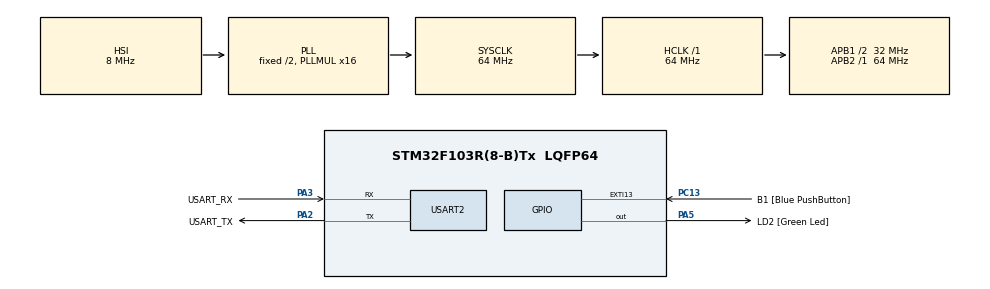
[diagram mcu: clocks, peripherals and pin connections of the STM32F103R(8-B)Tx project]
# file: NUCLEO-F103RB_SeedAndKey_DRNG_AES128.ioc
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FREERTOS.BinarySemaphores01=requestSeedBinarySem,Dynamic,NULL,Depleted;sendKeyBinarySem,Dynamic,NULL,Depleted
FREERTOS.HEAP_NUMBER=4
FREERTOS.Queues01=outputQueue,2,33,1,Dynamic,NULL,NULL
FREERTOS.Tasks01=serialTask,24,256,SerialTask,Default,NULL,Dynamic,NULL,NULL;requestSeedTask,24,256,RequestSeedTask,Default,NULL,Dynamic,NULL,NULL;compareKeyTask,24,256,CompareKeyTask,Default,NULL,Dynamic,NULL,NULL
FREERTOS.configTOTAL_HEAP_SIZE=10000
FREERTOS.configUSE_NEWLIB_REENTRANT=1
Mcu.Family=STM32F1
Mcu.Name=STM32F103R(8-B)Tx
Mcu.Package=LQFP64
NVIC.EXTI15_10_IRQn=true\:5\:0\:false\:false\:true\:true\:true\:true\:true
NVIC.PriorityGroup=NVIC_PRIORITYGROUP_4
NVIC.TIM1_UP_IRQn=true\:15\:0\:false\:false\:true\:false\:false\:true\:true
NVIC.TimeBase=TIM1_UP_IRQn
NVIC.TimeBaseIP=TIM1
NVIC.USART2_IRQn=true\:5\:0\:false\:false\:true\:true\:true\:true\:true
PA13.GPIO_Label=TMS
PA13.Mode=Trace_Asynchronous_SW
PA13.Signal=SYS_JTMS-SWDIO
PA14.GPIO_Label=TCK
PA14.Mode=Trace_Asynchronous_SW
PA14.Signal=SYS_JTCK-SWCLK
PA2.GPIO_Label=USART_TX
PA2.GPIO_Mode=GPIO_MODE_AF_PP
PA2.GPIO_PuPd=GPIO_NOPULL
PA2.GPIO_Speed=GPIO_SPEED_FREQ_LOW
PA2.Mode=Asynchronous
PA2.Signal=USART2_TX
PA3.GPIO_Label=USART_RX
PA3.GPIO_Mode=GPIO_MODE_AF_PP
PA3.GPIO_PuPd=GPIO_NOPULL
PA3.GPIO_Speed=GPIO_SPEED_FREQ_LOW
PA3.Mode=Asynchronous
PA3.Signal=USART2_RX
PA5.GPIO_Label=LD2 [Green Led]
PA5.GPIO_ModeDefaultOutputPP=GPIO_MODE_OUTPUT_PP
PA5.GPIO_PuPd=GPIO_NOPULL
PA5.GPIO_Speed=GPIO_SPEED_FREQ_LOW
PA5.Signal=GPIO_Output
PB3.GPIO_Label=SWO
PB3.Mode=Trace_Asynchronous_SW
PB3.Signal=SYS_JTDO-TRACESWO
PC13-TAMPER-RTC.GPIO_Label=B1 [Blue PushButton]
PC13-TAMPER-RTC.GPIO_PuPd=GPIO_NOPULL
PC13-TAMPER-RTC.Signal=GPXTI13
PC14-OSC32_IN.Mode=LSE-External-Oscillator
PC14-OSC32_IN.Signal=RCC_OSC32_IN
PC15-OSC32_OUT.Mode=LSE-External-Oscillator
PC15-OSC32_OUT.Signal=RCC_OSC32_OUT
PD0-OSC_IN.Mode=HSE-External-Clock-Source
PD0-OSC_IN.Signal=RCC_OSC_IN
PD1-OSC_OUT.Mode=HSE-External-Clock-Source
PD1-OSC_OUT.Signal=RCC_OSC_OUT
ProjectManager.HeapSize=0x200
ProjectManager.StackSize=0x400
ProjectManager.TargetToolchain=STM32CubeIDE
RCC.AHBFreq_Value=64000000
RCC.APB1CLKDivider=RCC_HCLK_DIV2
RCC.APB1Freq_Value=32000000
RCC.APB1TimFreq_Value=64000000
RCC.APB2Freq_Value=64000000
RCC.APB2TimFreq_Value=64000000
RCC.HCLKFreq_Value=64000000
RCC.PLLMUL=RCC_PLL_MUL16
RCC.RTCClockSelection=RCC_RTCCLKSOURCE_LSE
RCC.SYSCLKFreq_VALUE=64000000
RCC.SYSCLKSource=RCC_SYSCLKSOURCE_PLLCLK
RCC.USBFreq_Value=64000000
USART2.VirtualMode=VM_ASYNC
VP_FREERTOS_VS_CMSIS_V2.Mode=CMSIS_V2
VP_SYS_VS_tim1.Mode=TIM1
board=NUCLEO-F103RB

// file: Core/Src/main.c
/* USER CODE BEGIN Header */
/**
  ******************************************************************************
  * @file           : main.c
  * @brief          : Main program body
  ******************************************************************************
  * @attention
  *
  * Copyright (c) 2025 STMicroelectronics.
  * All rights reserved.
  *
  * This software is licensed under terms that can be found in the LICENSE file
  * in the root directory of this software component.
  * If no LICENSE file comes with this software, it is provided AS-IS.
  *
  ******************************************************************************
  */
/* USER CODE END Header */
#include "main.h"
#include "cmsis_os.h"

/* USER CODE BEGIN Includes */
#include <string.h>
#include <stdio.h>
#include "cmox_crypto.h"
/* USER CODE END Includes */

/* USER CODE BEGIN PD */
#define LENGTH_OF_SEED_KEY 16
/* USER CODE END PD */

UART_HandleTypeDef huart2;

/* Definitions for serialTask */
osThreadId_t serialTaskHandle;
const osThreadAttr_t serialTask_attributes = {
  .name = "serialTask",
  .stack_size = 256 * 4,
  .priority = (osPriority_t) osPriorityNormal,
};
/* Definitions for requestSeedTask */
osThreadId_t requestSeedTaskHandle;
const osThreadAttr_t requestSeedTask_attributes = {
  .name = "requestSeedTask",
  .stack_size = 256 * 4,
  .priority = (osPriority_t) osPriorityNormal,
};
/* Definitions for compareKeyTask */
osThreadId_t compareKeyTaskHandle;
const osThreadAttr_t compareKeyTask_attributes = {
  .name = "compareKeyTask",
  .stack_size = 256 * 4,
  .priority = (osPriority_t) osPriorityNormal,
};
/* Definitions for outputQueue */
osMessageQueueId_t outputQueueHandle;
const osMessageQueueAttr_t outputQueue_attributes = {
  .name = "outputQueue"
};
/* Definitions for requestSeedBinarySem */
osSemaphoreId_t requestSeedBinarySemHandle;
const osSemaphoreAttr_t requestSeedBinarySem_attributes = {
  .name = "requestSeedBinarySem"
};
/* Definitions for sendKeyBinarySem */
osSemaphoreId_t sendKeyBinarySemHandle;
const osSemaphoreAttr_t sendKeyBinarySem_attributes = {
  .name = "sendKeyBinarySem"
};

void SystemClock_Config(void);
static void MX_GPIO_Init(void);
static void MX_USART2_UART_Init(void);
void SerialTask(void *argument);
void RequestSeedTask(void *argument);
void CompareKeyTask(void *argument);

/* USER CODE BEGIN PFP */
void HandleInputKey(char* inputKey, uint8_t len);
/* USER CODE END PFP */

/* USER CODE BEGIN 0 */
char inputMsg[40];
char requestSeed[] = "seed";
char sendKey[] = "key";
//const char testKey[LENGTH_OF_SEED_KEY*2+3] = "key77384fd183cb1916e7ac4c0fe022efcf";
const uint8_t SecretKey[] =
{
  0x11, 0x22, 0x33, 0x44, 0x55, 0x66, 0x77, 0x88, 0x99, 0x00, 0xAA, 0xBB, 0xCC, 0xDD, 0xEE, 0xFF
};
const uint8_t IV[] =
{
  0x00, 0x01, 0x02, 0x03, 0x04, 0x05, 0x06, 0x07, 0x08, 0x09, 0x0a, 0x0b, 0x0c, 0x0d, 0x0e, 0x0f
};
uint8_t InputCiphertext[] =
{
  0x76, 0x49, 0xab, 0xac, 0x81, 0x19, 0xb2, 0x46, 0xce, 0xe9, 0x8e, 0x9b, 0x12, 0xe9, 0x19, 0x7d
};
/* Computed data buffer */
uint8_t ComputedCiphertext[LENGTH_OF_SEED_KEY];

/* DRBG context handle */
cmox_ctr_drbg_handle_t Drbg_Ctx;

uint8_t Entropy[] =
{
  0x4c, 0xfb, 0x21, 0x86, 0x73, 0x34, 0x6d, 0x9d, 0x50, 0xc9, 0x22, 0xe4, 0x9b, 0x0d, 0xfc, 0xd0,
  0x90, 0xad, 0xf0, 0x4f, 0x5c, 0x3b, 0xa4, 0x73, 0x27, 0xdf, 0xcd, 0x6f, 0xa6, 0x3a, 0x78, 0x5c
};
const uint8_t Nonce[] =
{
  0x01, 0x69, 0x62, 0xa7, 0xfd, 0x27, 0x87, 0xa2, 0x4b, 0xf6, 0xbe, 0x47, 0xef, 0x37, 0x83, 0xf1
};
const uint8_t Personalization[] =
{
  0x88, 0xee, 0xb8, 0xe0, 0xe8, 0x3b, 0xf3, 0x29, 0x4b, 0xda, 0xcd, 0x60, 0x99, 0xeb, 0xe4, 0xbf,
  0x55, 0xec, 0xd9, 0x11, 0x3f, 0x71, 0xe5, 0xeb, 0xcb, 0x45, 0x75, 0xf3, 0xd6, 0xa6, 0x8a, 0x6b
};
uint8_t EntropyInputReseed[] =
{
  0xb7, 0xec, 0x46, 0x07, 0x23, 0x63, 0x83, 0x4a, 0x1b, 0x01, 0x33, 0xf2, 0xc2, 0x38, 0x91, 0xdb,
  0x4f, 0x11, 0xa6, 0x86, 0x51, 0xf2, 0x3e, 0x3a, 0x8b, 0x1f, 0xdc, 0x03, 0xb1, 0x92, 0xc7, 0xe7
};
const uint8_t Known_Random[] =
{
  0xa5, 0x51, 0x80, 0xa1, 0x90, 0xbe, 0xf3, 0xad, 0xaf, 0x28, 0xf6, 0xb7, 0x95, 0xe9, 0xf1, 0xf3
};

/* Computed data buffer */
uint8_t ComputedRandom[LENGTH_OF_SEED_KEY];
/* USER CODE END 0 */

int main(void)
{

  /* MCU Configuration--------------------------------------------------------*/

  /* Reset of all peripherals, Initializes the Flash interface and the Systick. */
  HAL_Init();

  /* Configure the system clock */
  SystemClock_Config();

  /* Initialize all configured peripherals */
  MX_GPIO_Init();
  MX_USART2_UART_Init();
  /* USER CODE BEGIN 2 */

  HAL_UART_Transmit(&huart2, (uint8_t*)"Startttttttttt\n", (uint16_t)15, 100);

  cmox_init_arg_t init_target = {CMOX_INIT_TARGET_AUTO, NULL};

  /* Initialize cryptographic library */
  if (cmox_initialize(&init_target) != CMOX_INIT_SUCCESS)
  {
    Error_Handler();
  }

  /* USER CODE END 2 */

  /* Init scheduler */
  osKernelInitialize();

  /* Create the semaphores(s) */
  /* creation of requestSeedBinarySem */
  requestSeedBinarySemHandle = osSemaphoreNew(1, 0, &requestSeedBinarySem_attributes);

  /* creation of sendKeyBinarySem */
  sendKeyBinarySemHandle = osSemaphoreNew(1, 0, &sendKeyBinarySem_attributes);

  /* Create the queue(s) */
  /* creation of outputQueue */
  outputQueueHandle = osMessageQueueNew (2, 33, &outputQueue_attributes);

  /* Create the thread(s) */
  /* creation of serialTask */
  serialTaskHandle = osThreadNew(SerialTask, NULL, &serialTask_attributes);

  /* creation of requestSeedTask */
  requestSeedTaskHandle = osThreadNew(RequestSeedTask, NULL, &requestSeedTask_attributes);

  /* creation of compareKeyTask */
  compareKeyTaskHandle = osThreadNew(CompareKeyTask, NULL, &compareKeyTask_attributes);

  /* Start scheduler */
  osKernelStart();

  /* We should never get here as control is now taken by the scheduler */

  /* Infinite loop */
  while (1)
  {

  }
}

void SystemClock_Config(void)
{
  RCC_OscInitTypeDef RCC_OscInitStruct = {0};
  RCC_ClkInitTypeDef RCC_ClkInitStruct = {0};

  /** Initializes the RCC Oscillators according to the specified parameters
  * in the RCC_OscInitTypeDef structure.
  */
  RCC_OscInitStruct.OscillatorType = RCC_OSCILLATORTYPE_HSI;
  RCC_OscInitStruct.HSIState = RCC_HSI_ON;
  RCC_OscInitStruct.HSICalibrationValue = RCC_HSICALIBRATION_DEFAULT;
  RCC_OscInitStruct.PLL.PLLState = RCC_PLL_ON;
  RCC_OscInitStruct.PLL.PLLSource = RCC_PLLSOURCE_HSI_DIV2;
  RCC_OscInitStruct.PLL.PLLMUL = RCC_PLL_MUL16;
  if (HAL_RCC_OscConfig(&RCC_OscInitStruct) != HAL_OK)
  {
    Error_Handler();
  }

  /** Initializes the CPU, AHB and APB buses clocks
  */
  RCC_ClkInitStruct.ClockType = RCC_CLOCKTYPE_HCLK|RCC_CLOCKTYPE_SYSCLK
                              |RCC_CLOCKTYPE_PCLK1|RCC_CLOCKTYPE_PCLK2;
  RCC_ClkInitStruct.SYSCLKSource = RCC_SYSCLKSOURCE_PLLCLK;
  RCC_ClkInitStruct.AHBCLKDivider = RCC_SYSCLK_DIV1;
  RCC_ClkInitStruct.APB1CLKDivider = RCC_HCLK_DIV2;
  RCC_ClkInitStruct.APB2CLKDivider = RCC_HCLK_DIV1;

  if (HAL_RCC_ClockConfig(&RCC_ClkInitStruct, FLASH_LATENCY_2) != HAL_OK)
  {
    Error_Handler();
  }
}

static void MX_USART2_UART_Init(void)
{

  huart2.Instance = USART2;
  huart2.Init.BaudRate = 115200;
  huart2.Init.WordLength = UART_WORDLENGTH_8B;
  huart2.Init.StopBits = UART_STOPBITS_1;
  huart2.Init.Parity = UART_PARITY_NONE;
  huart2.Init.Mode = UART_MODE_TX_RX;
  huart2.Init.HwFlowCtl = UART_HWCONTROL_NONE;
  huart2.Init.OverSampling = UART_OVERSAMPLING_16;
  if (HAL_UART_Init(&huart2) != HAL_OK)
  {
    Error_Handler();
  }

}

static void MX_GPIO_Init(void)
{
  GPIO_InitTypeDef GPIO_InitStruct = {0};

  /* GPIO Ports Clock Enable */
  __HAL_RCC_GPIOC_CLK_ENABLE();
  __HAL_RCC_GPIOD_CLK_ENABLE();
  __HAL_RCC_GPIOA_CLK_ENABLE();
  __HAL_RCC_GPIOB_CLK_ENABLE();

  /*Configure GPIO pin Output Level */
  HAL_GPIO_WritePin(LD2_GPIO_Port, LD2_Pin, GPIO_PIN_RESET);

  /*Configure GPIO pin : B1_Pin */
  GPIO_InitStruct.Pin = B1_Pin;
  GPIO_InitStruct.Mode = GPIO_MODE_IT_RISING;
  GPIO_InitStruct.Pull = GPIO_NOPULL;
  HAL_GPIO_Init(B1_GPIO_Port, &GPIO_InitStruct);

  /*Configure GPIO pin : LD2_Pin */
  GPIO_InitStruct.Pin = LD2_Pin;
  GPIO_InitStruct.Mode = GPIO_MODE_OUTPUT_PP;
  GPIO_InitStruct.Pull = GPIO_NOPULL;
  GPIO_InitStruct.Speed = GPIO_SPEED_FREQ_LOW;
  HAL_GPIO_Init(LD2_GPIO_Port, &GPIO_InitStruct);

  /* EXTI interrupt init*/
  HAL_NVIC_SetPriority(EXTI15_10_IRQn, 5, 0);
  HAL_NVIC_EnableIRQ(EXTI15_10_IRQn);

}

/* USER CODE BEGIN 4 */
void HandleInputKey(char* inputKey, uint8_t len) {
	uint8_t i = 0;
	uint8_t convertedValue;
	char hex[3];
	hex[2] = '\0'; // add null character...

	memset(InputCiphertext, 0, sizeof(uint8_t)*LENGTH_OF_SEED_KEY);

	for (i=0; i<len; i+=2) {
		(void)strncpy(hex, &inputKey[i], 2);
		convertedValue = (uint8_t)strtoul(hex, NULL, 16);
		InputCiphertext[i/2] = convertedValue;
	}
}
/* USER CODE END 4 */

void SerialTask(void *argument)
{
  /* USER CODE BEGIN 5 */
	char c;
	size_t idx = 0;
	memset(inputMsg, 0, sizeof(char)*40); //reset buffer
	char msg[33];
	osStatus_t resultGetFromQ;

  /* Infinite loop */
  for(;;)
  {
	  if (HAL_UART_Receive(&huart2, (uint8_t*)&c, (uint16_t)1, 10) == HAL_OK) { //handle for input
		  if ((c == '\n') || (c == '\r')) {
			  if (strcmp(inputMsg, requestSeed) == 0) {
				  osSemaphoreRelease(requestSeedBinarySemHandle);
			  }
			  else if (strncmp(inputMsg, sendKey, 3) == 0) {
				  HandleInputKey(&inputMsg[3], (uint8_t)strlen(&inputMsg[3]));
				  osSemaphoreRelease(sendKeyBinarySemHandle);
			  }
			  else {
				  inputMsg[idx++] = '\n';
				  inputMsg[idx] = '\r';
				  HAL_UART_Transmit(&huart2, (uint8_t*)inputMsg, (uint16_t)strlen(inputMsg), 10);
			  }
			  idx = 0; //reset idx
			  memset(inputMsg, 0, sizeof(char)*40); //reset buffer
		  }
		  else {
			  inputMsg[idx++] = c;
		  }
	  }
	  //handle for output
	  if (osMessageQueueGetCount(outputQueueHandle) > 0)
	  {
		  resultGetFromQ = osMessageQueueGet(outputQueueHandle, &msg[0], NULL, 0);
		  if (resultGetFromQ == osOK) {
			  HAL_UART_Transmit(&huart2, (uint8_t*)&msg[0], (uint16_t)strlen(msg), 10);
			  HAL_UART_Transmit(&huart2, (uint8_t*)"\n", 1, 10);
		  } else {
			  ITM_SendChar(resultGetFromQ+6+48);
			  ITM_SendChar('\n');
		  }
	  }
  }
  /* USER CODE END 5 */
}

void RequestSeedTask(void *argument)
{
  /* USER CODE BEGIN RequestSeedTask */

	cmox_drbg_retval_t retval;
	/* General DRBG context */
	cmox_drbg_handle_t *drgb_ctx;
	size_t i = 0;
	char msg[33];

	/* Infinite loop */
	for(;;)
	{
		if (osSemaphoreAcquire(requestSeedBinarySemHandle, osWaitForever) == osOK) {
		  /* Construct a drbg context that is configured to perform ctrDRBG with AES256 operations */
		  drgb_ctx = cmox_ctr_drbg_construct(&Drbg_Ctx, CMOX_CTR_DRBG_AES256);
		  if (drgb_ctx == NULL)
		  {
			  Error_Handler();
		  }

		  /* Initialize the DRBG context with entropy, nonce and personalization string parameters */
		  Entropy[0] = (uint8_t)HAL_GetTick();
		  retval = cmox_drbg_init(drgb_ctx,                                     /* DRBG context */
								Entropy, sizeof(Entropy),                     /* Entropy data */
								Personalization, sizeof(Personalization),     /* Personalization string */
								Nonce, sizeof(Nonce));                        /* Nonce data */

		  if (retval != CMOX_DRBG_SUCCESS)
		  {
			  Error_Handler();
		  }

		  /* Reseed the DRBG with reseed parameters */
		  EntropyInputReseed[0] = (uint8_t)HAL_GetTick();
		  retval = cmox_drbg_reseed(drgb_ctx,                                           /* DRBG context */
									EntropyInputReseed, sizeof(EntropyInputReseed),     /* Entropy reseed data */
									NULL, 0);

		  /* Generate 1st random data */
		  memset(ComputedRandom, 0, sizeof(uint8_t)*LENGTH_OF_SEED_KEY);
		  retval = cmox_drbg_generate(drgb_ctx,                             /* DRBG context */
									NULL, 0,                                /* No additional data */
									ComputedRandom, LENGTH_OF_SEED_KEY-1);  /* Data buffer to receive generated random */

		  /* Verify API returned value */
		  if (retval != CMOX_DRBG_SUCCESS)
		  {
			  Error_Handler();
		  }

		  /* Cleanup the context */
		  retval = cmox_drbg_cleanup(drgb_ctx);
		  if (retval != CMOX_DRBG_SUCCESS)
		  {
			  Error_Handler();
		  }

		  for (i=0; i<LENGTH_OF_SEED_KEY-1; i++) {
			  (void)sprintf(&msg[2*i], "%02X", ComputedRandom[i]);
		  }
		  (void)osMessageQueuePut(outputQueueHandle, &msg[0], 0, 0);
		  HAL_GPIO_WritePin(LD2_GPIO_Port, LD2_Pin, GPIO_PIN_RESET);
	  }
	}
  /* USER CODE END RequestSeedTask */
}

void CompareKeyTask(void *argument)
{
  /* USER CODE BEGIN CompareKeyTask */

  cmox_cipher_retval_t retval;
  size_t computedSize;
  char msg[33];

  /* Infinite loop */
  for(;;)
  {
	  /* Compute directly the ciphertext passing all the needed parameters */
	  /* Note: CMOX_AES_CBC_ENC_ALGO refer to the default AES implementation
	   * selected in cmox_default_config.h. To use a specific implementation, user can
	   * directly choose:
	   * - CMOX_AESFAST_CBC_ENC_ALGO to select the AES fast implementation
	   * - CMOX_AESSMALL_CBC_ENC_ALGO to select the AES small implementation
	   */
	  if (osSemaphoreAcquire(sendKeyBinarySemHandle, osWaitForever) == osOK) {
		  memset(ComputedCiphertext, 0, sizeof(uint8_t)*LENGTH_OF_SEED_KEY);
		  ComputedRandom[15] = 0x01; //perform PKCS7 padding
		  retval = cmox_cipher_encrypt(CMOX_AES_CBC_ENC_ALGO,                  			/* Use AES ECB algorithm */
				  	  	  	  	  	   ComputedRandom, LENGTH_OF_SEED_KEY,           	/* Plaintext to encrypt */
									   SecretKey, LENGTH_OF_SEED_KEY,                   /* AES key to use */
									   IV, LENGTH_OF_SEED_KEY,                         	/* Initialization vector */
									   ComputedCiphertext, &computedSize);   			/* Data buffer to receive generated ciphertext */

		  /* Verify API returned value */
		  if (retval != CMOX_CIPHER_SUCCESS)
		  {
			  Error_Handler();
		  }

		  /* Verify generated data size is the expected one */
		  if (computedSize != LENGTH_OF_SEED_KEY)
		  {
			  Error_Handler();
		  }

		  /* Verify generated data are the expected ones */
		  if (memcmp(InputCiphertext, ComputedCiphertext, computedSize) != 0) {
			  (void)sprintf(msg, "Please don't hack me bro");
			  HAL_GPIO_WritePin(LD2_GPIO_Port, LD2_Pin, GPIO_PIN_RESET);
		  }
		  else {
			  (void)sprintf(msg, "We are good to go bro");
			  HAL_GPIO_WritePin(LD2_GPIO_Port, LD2_Pin, GPIO_PIN_SET);
		  }

		  (void)osMessageQueuePut(outputQueueHandle, &msg[0], 0, 0);
	  }
  }
  /* USER CODE END CompareKeyTask */
}

void HAL_TIM_PeriodElapsedCallback(TIM_HandleTypeDef *htim)
{
  if (htim->Instance == TIM1)
  {
    HAL_IncTick();
  }
}

void Error_Handler(void)
{
  __disable_irq();
  while (1)
  {
  }
}
